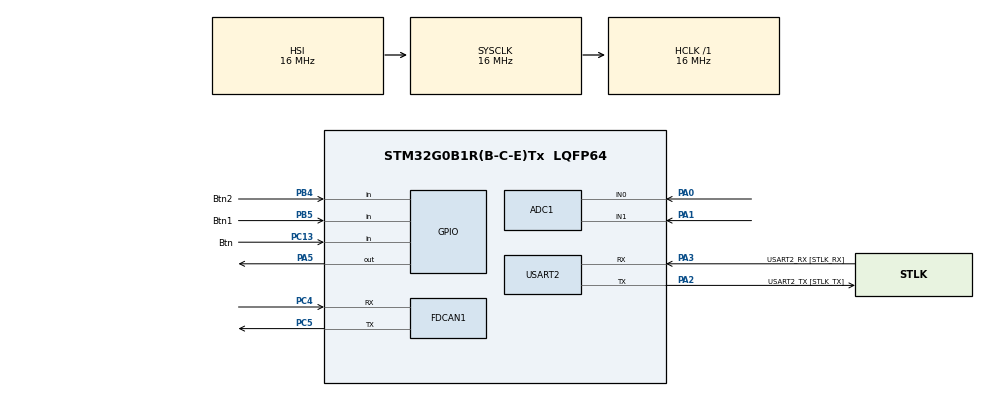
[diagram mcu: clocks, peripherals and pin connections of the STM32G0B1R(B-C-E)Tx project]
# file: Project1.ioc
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ADC1.Channel-0\#ChannelRegularConversion=ADC_CHANNEL_0
ADC1.Channel-1\#ChannelRegularConversion=ADC_CHANNEL_1
ADC1.NbrOfConversion=2
ADC1.NbrOfConversionFlag=1
ADC1.OversamplingMode=ENABLE
ADC1.Rank-0\#ChannelRegularConversion=1
ADC1.Rank-1\#ChannelRegularConversion=2
ADC1.Ratio=ADC_OVERSAMPLING_RATIO_64
ADC1.RightBitShift=ADC_RIGHTBITSHIFT_6
ADC1.SamplingTime-0\#ChannelRegularConversion=ADC_SAMPLINGTIME_COMMON_1
ADC1.SamplingTime-1\#ChannelRegularConversion=ADC_SAMPLINGTIME_COMMON_1
ADC1.SelectedChannel=ADC_CHANNEL_0|ADC_CHANNEL_1
ADC1.master=1
Dma.ADC1.0.Direction=DMA_PERIPH_TO_MEMORY
Dma.ADC1.0.EventEnable=DISABLE
Dma.ADC1.0.Instance=DMA1_Channel1
Dma.ADC1.0.MemDataAlignment=DMA_MDATAALIGN_HALFWORD
Dma.ADC1.0.MemInc=DMA_MINC_ENABLE
Dma.ADC1.0.Mode=DMA_NORMAL
Dma.ADC1.0.PeriphDataAlignment=DMA_PDATAALIGN_HALFWORD
Dma.ADC1.0.PeriphInc=DMA_PINC_DISABLE
Dma.ADC1.0.Polarity=HAL_DMAMUX_REQ_GEN_RISING
Dma.ADC1.0.Priority=DMA_PRIORITY_LOW
Dma.ADC1.0.RequestNumber=1
Dma.ADC1.0.SignalID=NONE
Dma.ADC1.0.SyncEnable=DISABLE
Dma.ADC1.0.SyncPolarity=HAL_DMAMUX_SYNC_NO_EVENT
Dma.ADC1.0.SyncRequestNumber=1
Dma.ADC1.0.SyncSignalID=NONE
Dma.Request0=ADC1
FDCAN1.CalculateBaudRateNominal=200000
FDCAN1.CalculateTimeBitNominal=5000
FDCAN1.CalculateTimeQuantumNominal=1000.0
FDCAN1.Mode=FDCAN_MODE_INTERNAL_LOOPBACK
Mcu.Family=STM32G0
Mcu.Name=STM32G0B1R(B-C-E)Tx
Mcu.Package=LQFP64
NVIC.DMA1_Channel1_IRQn=true\:0\:0\:false\:false\:true\:false\:true\:true
PA0.Mode=IN0
PA0.Signal=ADC1_IN0
PA1.Mode=IN1
PA1.Signal=ADC1_IN1
PA13.GPIO_Label=TMS
PA13.Mode=Serial_Wire
PA13.Signal=SYS_SWDIO
PA14-BOOT0.GPIO_Label=TCK
PA14-BOOT0.Mode=Serial_Wire
PA14-BOOT0.Signal=SYS_SWCLK
PA2.GPIO_Label=USART2_TX [STLK_TX]
PA2.Mode=Asynchronous
PA2.Signal=USART2_TX
PA3.GPIO_Label=USART2_RX [STLK_RX]
PA3.Mode=Asynchronous
PA3.Signal=USART2_RX
PA5.Signal=GPIO_Output
PB4.GPIO_Label=Btn2
PB4.Signal=GPIO_Input
PB5.GPIO_Label=Btn1
PB5.Signal=GPIO_Input
PC13.GPIO_Label=Btn
PC13.Signal=GPIO_Input
PC14-OSC32_IN\ (PC14).Mode=LSE-External-Oscillator
PC14-OSC32_IN\ (PC14).Signal=RCC_OSC32_IN
PC15-OSC32_OUT\ (PC15).Mode=LSE-External-Oscillator
PC15-OSC32_OUT\ (PC15).Signal=RCC_OSC32_OUT
PC4.Mode=FDCAN_Activate
PC4.Signal=FDCAN1_RX
PC5.Mode=FDCAN_Activate
PC5.Signal=FDCAN1_TX
PF0-OSC_IN\ (PF0).GPIO_Label=MCO
PF0-OSC_IN\ (PF0).Mode=HSE-External-Clock-Source
PF0-OSC_IN\ (PF0).Signal=RCC_OSC_IN
ProjectManager.HeapSize=0x200
ProjectManager.StackSize=0x400
ProjectManager.TargetToolchain=STM32CubeIDE
RCC.AHBFreq_Value=16000000
RCC.CortexFreq_Value=16000000
RCC.EXTERNAL_CLOCK_VALUE=12288000
RCC.HCLKFreq_Value=16000000
RCC.HSE_VALUE=8000000
RCC.HSI48_VALUE=48000000
RCC.HSI_VALUE=16000000
RCC.SYSCLKFreq_VALUE=16000000
RCC.USBFreq_Value=48000000
RCC.VCOOutputFreq_Value=128000000
USART2.VirtualMode-Asynchronous=VM_ASYNC
VP_SYS_VS_DBSignals.Mode=DisableDeadBatterySignals
board=NUCLEO-G0B1RE

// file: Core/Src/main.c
/* USER CODE BEGIN Header */
/**
  ******************************************************************************
  * @file           : main.c
  * @brief          : Main program body
  ******************************************************************************
  * @attention
  *
  * Copyright (c) 2024 STMicroelectronics.
  * All rights reserved.
  *
  * This software is licensed under terms that can be found in the LICENSE file
  * in the root directory of this software component.
  * If no LICENSE file comes with this software, it is provided AS-IS.
  *
  ******************************************************************************
  */

/* Uses two potentiometers to read the travel of an acceleration pedal.
 * These values are taken from the ADC via the DMA(oversampled(64) and then averaged)
 * Calculates the percentage travel of the values after applying a deadzone upper and lower threshold
 * The system then checks for two types of implausibilities
 	 * Brake pedal is pressed while acceleration is pressed past a certain threshold
 	 * The two potentiometers differ larger than the allowed threshold
 * After everything is calculated a CAN message is made and sent (sending implausibility and avg pedal acceleration)
 * The system always starts in calibration mode to make sure it gets the full range of potentiometer values before it drives
 * The reset button it pressed to turn calibration mode off manually.
 * Alternatively the bool can be turned off and the values preset to something close to the know values and let them update
 * */

/* USER CODE END Header */
#include "main.h"

/* USER CODE BEGIN Includes */
#include <stdio.h>
#include <string.h>

/* USER CODE END Includes */

/* USER CODE BEGIN PD */
#define pedalImplausibilityThresh 10
#define pedalDeadzoneThresh 8
#define minMaxOccurancesThresh 2
/* USER CODE END PD */

ADC_HandleTypeDef hadc1;
DMA_HandleTypeDef hdma_adc1;

FDCAN_HandleTypeDef hfdcan1;

UART_HandleTypeDef huart2;

/* USER CODE BEGIN PV */

/* INPUT VARIABLES START */
volatile uint16_t adcDMA[2]; //Memory for DMA results
const int adcmsgCnt = 2; //Number of DMA conversions
volatile int adcConvComp = 0; //Wait until completion boolean
uint8_t btn0 = 0; //Blue button(1 Default)
uint8_t brakeBtn = 0; //button(0 Default) (pin 4)
uint8_t resetBtn = 0; //button(0 Default) (pin 5)
/* INPUT VARIABLES END */

/* RUNNING STATE VARIABLES START*/
uint8_t calibrationModeBool = 1; //To get the full range of potentiometer values before driving
uint8_t testingModeBool = 0; //For testing makes sure CAN always sends 0
uint8_t pedalImplausibilityBool = 0; //Bool for acceleration pedal implausibility
uint8_t brakeImplausibilityBool = 0; //Bool for brake pedal implausibility
uint8_t implausibility = 0; //True if any of the above are true (used for CAN)
/* RUNNING STATE VARIABLES END*/

/* ANALOG VALUES START */
//Represent the true min/max analog values for the 5V and 3V
uint16_t accel5VMax = 2000;
uint16_t accel5VMin = 600;
uint16_t accel3VMax = 2000;
uint16_t accel3VMin = 600;

//Represent the min/max values after threshold has been applied for the 5V and 3V
uint16_t accel5VMaxThresh = 2000;
uint16_t accel5VMinThresh = 600;
uint16_t accel3VMaxThresh = 2000;
uint16_t accel3VMinThresh = 600;

//Variables to keep count of new max/min to meet minimum threshold to change values
uint8_t new5VMaxCnt = 0;
uint8_t new5VMinCnt = 0;
uint8_t new3VMaxCnt = 0;
uint8_t new3VMinCnt = 0;

//Variables to keep the percentages (0-100%)
uint8_t accel5VPercentage = 0;
uint8_t accel3VPercentage = 0;
uint8_t accelImplausabilityPercentage = 0;
uint8_t accelAvgPercentage = 0;
uint8_t accelCANPercentage = 0;
/* ANALOG VALUES END */

/* MILLIS TIMER VARIABLES START */
uint32_t accelerationImplausibilityTimer = 0;
uint32_t brakeImplausibilityTimer = 0;
/* MILLIS TIMER VARIABLES START */

/* CAN START */
uint8_t CANErrorMsgCnt = 0;
uint8_t CANReceivedMsgCnt = 0;
uint16_t CANId = 0x115;
/* CAN END */

/* UART START */ //Used for debugging using UART
uint8_t msgCnt = 0;
char msgBuff[80];
uint8_t buffSz = 80;
uint8_t msgSz = 0;

/* UART END */

/* USER CODE END PV */

void SystemClock_Config(void);
static void MX_GPIO_Init(void);
static void MX_DMA_Init(void);
static void MX_USART2_UART_Init(void);
static void MX_ADC1_Init(void);
static void MX_FDCAN1_Init(void);

/* USER CODE BEGIN 0 */

/* Reads the inputs from the ADC through the DMA
 * The ADC is oversampling at 64 samples and shifted right 6 times
 * Readings:
 	 	 	* Potentiometer 1 (5V)
 	 	 	* Potentiometer 2 (3V)
 	 	 	* Button 0 -> Blue board pin has no current use
 	 	 	* Button 1(pin 5) -> Reset pin for all of the implausibilities
 	 	 	* Button 2(pin 6) -> Repesents the brake pedal reading as a boolean value */
void readInputs(){
	//Get DMA readings for both potentiometers
	HAL_ADC_Start_DMA(&hadc1, (uint32_t*)adcDMA, adcmsgCnt);
	while (!adcConvComp){ /*Wait will next conversion is done*/ }
	adcConvComp = 0; //Reset event variable

	//Get button readings
	btn0 = HAL_GPIO_ReadPin(Btn_GPIO_Port, Btn_Pin);

	resetBtn = HAL_GPIO_ReadPin(GPIOB, GPIO_PIN_5);
	if(resetBtn){
		calibrationModeBool = 0;
		pedalImplausibilityBool = 0;
		brakeImplausibilityBool = 0;
	}

	brakeBtn = HAL_GPIO_ReadPin(GPIOB, GPIO_PIN_4);
}

/* Prints all values for debugging */
void printValues(){
	//Potentiometer & button readings
	msgSz = snprintf(msgBuff, buffSz, "%d 5VPot: %d, 3VPot: %d\r\n", msgCnt, adcDMA[0], adcDMA[1]);
	HAL_UART_Transmit(&huart2, (uint8_t*)msgBuff, msgSz, HAL_MAX_DELAY);
	msgSz = snprintf(msgBuff, buffSz, "%d BrakeBtn: %d, ResetBtn: %d\r\n", msgCnt, brakeBtn, resetBtn);
	HAL_UART_Transmit(&huart2, (uint8_t*)msgBuff, msgSz, HAL_MAX_DELAY);

	//Accelerator petal Min/Max
	msgSz = snprintf(msgBuff, buffSz, "%d 5VMax: %d, 5VMin: %d\r\n", msgCnt, accel5VMax, accel5VMin);
	HAL_UART_Transmit(&huart2, (uint8_t*)msgBuff, msgSz, HAL_MAX_DELAY);
	msgSz = snprintf(msgBuff, buffSz, "%d 3VMax: %d, 3VMin: %d\r\n", msgCnt, accel3VMax, accel3VMin);
	HAL_UART_Transmit(&huart2, (uint8_t*)msgBuff, msgSz, HAL_MAX_DELAY);

	//Accelerator petal Min/Max Calibrated
	msgSz = snprintf(msgBuff, buffSz, "%d Thresh 5VMax: ", msgCnt);
	HAL_UART_Transmit(&huart2, (uint8_t*)msgBuff, msgSz, HAL_MAX_DELAY);
	msgSz = snprintf(msgBuff, buffSz, "%d, 5VMin: %d\r\n", accel5VMaxThresh, accel5VMinThresh);
	HAL_UART_Transmit(&huart2, (uint8_t*)msgBuff, msgSz, HAL_MAX_DELAY);

	msgSz = snprintf(msgBuff, buffSz, "%d Thresh 3VMax: ", msgCnt);
	HAL_UART_Transmit(&huart2, (uint8_t*)msgBuff, msgSz, HAL_MAX_DELAY);
	msgSz = snprintf(msgBuff, buffSz, "%d, 3VMin: %d\r\n", accel3VMaxThresh, accel3VMinThresh);
	HAL_UART_Transmit(&huart2, (uint8_t*)msgBuff, msgSz, HAL_MAX_DELAY);

	//Accelerator percentages
	msgSz = snprintf(msgBuff, buffSz, "%d Percentage: ", msgCnt);
	HAL_UART_Transmit(&huart2, (uint8_t*)msgBuff, msgSz, HAL_MAX_DELAY);
	msgSz = snprintf(msgBuff, buffSz, "5VP: %d, 3VP: %d, AvgP: %d\r\n", accel5VPercentage, accel3VPercentage, accelAvgPercentage);
	HAL_UART_Transmit(&huart2, (uint8_t*)msgBuff, msgSz, HAL_MAX_DELAY);

	//Implausibilities
	msgSz = snprintf(msgBuff, buffSz, "%d PedIm: %d, BrakeIm: %d\r\n", msgCnt, pedalImplausibilityBool, brakeImplausibilityBool);
	HAL_UART_Transmit(&huart2, (uint8_t*)msgBuff, msgSz, HAL_MAX_DELAY);

	msgSz = snprintf(msgBuff, buffSz, "%d Calibration: %d, ", msgCnt, calibrationModeBool);
	HAL_UART_Transmit(&huart2, (uint8_t*)msgBuff, msgSz, HAL_MAX_DELAY);
	msgSz = snprintf(msgBuff, buffSz, "Testing: %d\n\n \r\n", testingModeBool);
	HAL_UART_Transmit(&huart2, (uint8_t*)msgBuff, msgSz, HAL_MAX_DELAY);

	msgCnt++;
}

/* Update the upper and lower bounds for the potentiometer reading
 * Doesn't update directly as new min/max must appear the minimum threshold number of times
 * Checks for a new min or max for both 5V and 3V*/
void updateBounds(){
	//New 5V max
	if(adcDMA[0] > accel5VMax){
		//Meets threshold -> make max
		if(new5VMaxCnt >= minMaxOccurancesThresh){
			accel5VMax = adcDMA[0];
			new5VMaxCnt = 0;
		}
		//Doesn't meet threshold -> update count
		else{
			new5VMaxCnt++;
		}
		new5VMinCnt = 0;
	}
	//New 5V min
	else if(adcDMA[0] < accel5VMin){
		//Meets threshold -> make min
		if(new5VMinCnt >= minMaxOccurancesThresh){
			accel5VMin = adcDMA[0];
			new5VMinCnt = 0;
		}
		//Doesn't meet threshold -> update count
		else{
			new5VMinCnt++;
		}
		new5VMaxCnt = 0;
	}
	//Neither new min or max -> reset counters
	else{
		new5VMinCnt = 0;
		new5VMaxCnt = 0;
	}

	//New 3V max
	if(adcDMA[1] > accel3VMax){
		//Meets threshold -> make max
		if(new3VMaxCnt >= minMaxOccurancesThresh){
			accel3VMax = adcDMA[1];
			new3VMaxCnt = 0;
		}
		//Doesn't meet threshold -> update count
		else{
			new3VMaxCnt++;
		}
		new3VMinCnt = 0;
	}
	//New 3V min
	else if(adcDMA[1] < accel3VMin){
		//Meets threshold -> make min
		if(new3VMinCnt >= minMaxOccurancesThresh){
			accel3VMin = adcDMA[1];
			new3VMinCnt = 0;
		}
		//Doesn't meet threshold -> update count
		else{
			new3VMinCnt++;
		}
		new3VMaxCnt = 0;
	}
	//Neither new min or max -> reset counters
	else{
		new3VMinCnt = 0;
		new3VMaxCnt = 0;
	}
}

/* Uses the current max/min to calculate what should be the min/max used
 * Created a upper and lower deadzone respective to the given deadzone threshold
 	 * Anything above the max thresh is automatically 100
 	 * Anything below the min thresh is automatically 0
 * Used to reduce any mechanical and environmental noise */
void calculateMaxMinThresholds(){
	//Calculates what is considered 1% and decrements or increments that to the max/min based on threshold
	uint16_t accelDifference = accel5VMax - accel5VMin;
	accel5VMaxThresh = accel5VMax - ((accelDifference * .01) * pedalDeadzoneThresh);
	accel5VMinThresh = accel5VMin + ((accelDifference * .01) * pedalDeadzoneThresh);

	accelDifference = accel3VMax - accel3VMin;
	accel3VMaxThresh = accel3VMax - ((accelDifference * .01) * pedalDeadzoneThresh);
	accel3VMinThresh = accel3VMin + ((accelDifference * .01) * pedalDeadzoneThresh);
}

/* Verifies the percentage falls between 0-100
 * Anything below <0 -> 0 and above >100 -> 100 */
uint16_t checkPercentage(uint16_t percentage){
	if(percentage < 0){
		percentage = 0;
	}
	else if (percentage > 100){
		percentage = 100;
	}
	return percentage;
}

/*Converts the float percentage into an int(negative -> 0):
 * Used to cover the edge case where the calculated percentage is negative and
 * the conversion turns what should be 0 into a large integer value */
uint8_t convertToInt(float percentage){
	if (percentage < 0){
		return 0;
	}
	return (uint8_t)percentage;
}

/* Converts the current reading into a percentage out of 100 with the threshold min/max as boundaries */
void convertToPercentages(){

	//Calculate the percentage represented using threshold min & max
	float temp5V = (((float)(adcDMA[0] - accel5VMinThresh) / (float)(accel5VMaxThresh - accel5VMinThresh))*100);
	float temp3V = (((float)(adcDMA[1] - accel3VMinThresh) / (float)(accel3VMaxThresh - accel3VMinThresh))*100);

	//Save the new calculated percentages as integers
	accel5VPercentage = convertToInt(temp5V);
	accel3VPercentage = convertToInt(temp3V);

	//If falls in lower or upper threshold adjust to 0 or 100 respectively
	accel5VPercentage = checkPercentage(accel5VPercentage);
	accel3VPercentage = checkPercentage(accel3VPercentage);

	//Get the average of the two potentiometers
	accelAvgPercentage = (accel5VPercentage + accel3VPercentage)>>1;
}

/*Finds the absolute value of the given float number*/
uint8_t absValue(float value){
	if(value < 0){
		value *= -1;
	}
	return (uint8_t)value;
}

/* Checks for acceleration pedal implausibility
 * This is when the 5V and 3V readings have a difference larger than the allowed threshold
 * Automatically resets if the readings fall back within threshold and 500 milliseconds have passed */
void accelerationImplausability(){
	//Calculate the difference in 5V and 3V percentages
	accelImplausabilityPercentage = absValue(accel5VPercentage - accel3VPercentage);

	//If past the threshold then implausibility is true
	if(accelImplausabilityPercentage > pedalImplausibilityThresh){
		pedalImplausibilityBool = 1;
		accelerationImplausibilityTimer = HAL_GetTick();
	}
	//If belows threshold and 500 milliseconds have passed reset implausibility
	else if (pedalImplausibilityBool && (HAL_GetTick() - accelerationImplausibilityTimer > 500)){
		pedalImplausibilityBool = 0;
	}
}

/* Checks for brake pedal implausibility
 * This is when the the brake pedal is on while the acceleration pedal is pressed past 5 percent
 * Automatically resets if (the readings fall back within threshold OR brake is off) and 500 milliseconds have passed*/
void brakeImplausibility(){
	//Brakes applied with acceleration past threshold(5%)
	if(brakeBtn && accelAvgPercentage >= 5){
		brakeImplausibilityBool = 1;
		brakeImplausibilityTimer = HAL_GetTick();
	}
	//Back within threshold(%5)
	else if (brakeImplausibilityBool && (HAL_GetTick() - brakeImplausibilityTimer > 500) && (accelAvgPercentage < 5)){
		brakeImplausibilityBool = 0;
	}
	//Brakes no longer applied
	else if(brakeImplausibilityBool && !brakeBtn && (HAL_GetTick() - brakeImplausibilityTimer > 500)){
		brakeImplausibilityBool = 0;
	}
}

/* Sends a can message with information about implausibility and the avg percentage
 * TxData[0] = var1; -> implausibility bool
 * TxData[1] = var2; -> acceleration pedal percentage
 * Can be in one of two modes:
   	 * Testing: Use FDCAN_MODE_INTERNAL_LOOPBACK
 	 * Running: Change back to normal mode*/
void SendFDCANData(uint8_t var1, uint8_t var2) {
	//Build the data array
    //2 bytes: 2 x (uint8_t)
    uint8_t TxData[2];
    TxData[0] = var1;
    TxData[1] = var2;

    //Configure FDCAN Tx Header
    FDCAN_TxHeaderTypeDef TxHeader;
    TxHeader.Identifier = CANId;
    TxHeader.IdType = FDCAN_STANDARD_ID;
    TxHeader.TxFrameType = FDCAN_DATA_FRAME;
    TxHeader.DataLength = FDCAN_DLC_BYTES_2;
    TxHeader.ErrorStateIndicator = FDCAN_ESI_ACTIVE;
    TxHeader.BitRateSwitch = FDCAN_BRS_OFF;
    TxHeader.FDFormat = FDCAN_CLASSIC_CAN;
    TxHeader.TxEventFifoControl = FDCAN_NO_TX_EVENTS;
    TxHeader.MessageMarker = 0;

    //Check that the tx is free to send the message
    uint32_t txFreeLevel;
    txFreeLevel = HAL_FDCAN_GetTxFifoFreeLevel(&hfdcan1);
    if (txFreeLevel > 0) {

    	//Transmit CAN message and check if error occurred
        if (HAL_FDCAN_AddMessageToTxFifoQ(&hfdcan1, &TxHeader, TxData) != HAL_OK) {
            msgSz = snprintf(msgBuff, buffSz, "Failed to send CAN MSG: %d \r\n", CANErrorMsgCnt);
            HAL_UART_Transmit(&huart2, (uint8_t*)msgBuff, msgSz, HAL_MAX_DELAY);
            CANErrorMsgCnt++;
        }
        //Message send successfully
        else {
            CANErrorMsgCnt = 0;
            msgSz = snprintf(msgBuff, buffSz, "Sent CAN MSG\r\n");
            HAL_UART_Transmit(&huart2, (uint8_t*)msgBuff, msgSz, HAL_MAX_DELAY);
        }
    }
    //Tx is not free, FIFO is full -> send error message
    else {
        msgSz = snprintf(msgBuff, buffSz, "Tx FIFO full, cannot send message\r\n");
        HAL_UART_Transmit(&huart2, (uint8_t*)msgBuff, msgSz, HAL_MAX_DELAY);
    }
}

/*Used for debugging with CAN on internal loop back mode to read our own CAN messages*/
void Receive_FDCAN_Message(void) {
    FDCAN_RxHeaderTypeDef RxHeader;
    uint8_t RxData[2];

    //Get the current tick time to track how long we wait for CAN message to be available
    uint32_t timeWaiting = HAL_GetTick();

    //Wait for a new CAN message or until 3 seconds pass
    while ((HAL_FDCAN_GetRxFifoFillLevel(&hfdcan1, FDCAN_RX_FIFO0) == 0) && (HAL_GetTick()-timeWaiting < 3000));

    //Get the message and parse it
    if (HAL_FDCAN_GetRxMessage(&hfdcan1, FDCAN_RX_FIFO0, &RxHeader, RxData) == HAL_OK) {
        uint8_t receivedImplausibility = RxData[0];
        uint8_t receivedPercentage = RxData[1];

        msgSz = snprintf(msgBuff, buffSz, "Received CAN: Implausibility");
		HAL_UART_Transmit(&huart2, (uint8_t*)msgBuff, msgSz, HAL_MAX_DELAY);
		msgSz = snprintf(msgBuff, buffSz, ": %d, Percentage: %d\n\n\r\n", receivedImplausibility, receivedPercentage);
		HAL_UART_Transmit(&huart2, (uint8_t*)msgBuff, msgSz, HAL_MAX_DELAY);
    }
    //Failed to receive message and send error message
    else {
    	msgSz = snprintf(msgBuff, buffSz, "Failed to read CAN MSG\r\n");
		HAL_UART_Transmit(&huart2, (uint8_t*)msgBuff, msgSz, HAL_MAX_DELAY);
    }
}

/*Checks for CAN errors
 * Resets the FDCAN peripheral if an error exists
 * Checks if the CAN Bus is active*/
void checkCANErrors(){
	uint32_t errorStatus = HAL_FDCAN_GetError(&hfdcan1);

	//Check for the FDCAN peripheral error
	if (errorStatus != 0) {
	    msgSz = snprintf(msgBuff, buffSz, "FDCAN Error: 0x%08lX  %d\r\n", errorStatus, msgCnt);
	    HAL_UART_Transmit(&huart2, (uint8_t*)msgBuff, msgSz, HAL_MAX_DELAY);

	    //Deinitialize and Reinitialize the FDCAN peripheral
	    HAL_FDCAN_DeInit(&hfdcan1);
	    HAL_FDCAN_Init(&hfdcan1);
	}

	//Check if the CAN BUS is in the off state
	if (__HAL_FDCAN_GET_FLAG(&hfdcan1, FDCAN_FLAG_BUS_OFF)) {
	    msgSz = snprintf(msgBuff, buffSz, "FDCAN Bus Off state!\r\n");
	    HAL_UART_Transmit(&huart2, (uint8_t*)msgBuff, msgSz, HAL_MAX_DELAY);
	}
}

/* USER CODE END 0 */

int main(void)
{

  /* MCU Configuration--------------------------------------------------------*/

  /* Reset of all peripherals, Initializes the Flash interface and the Systick. */
  HAL_Init();

  /* Configure the system clock */
  SystemClock_Config();

  /* Initialize all configured peripherals */
  MX_GPIO_Init();
  MX_DMA_Init();
  MX_USART2_UART_Init();
  MX_ADC1_Init();
  MX_FDCAN1_Init();
  /* USER CODE BEGIN 2 */

  //Start the FDCAN to be able to start communication
  HAL_FDCAN_Start(&hfdcan1);

  /* USER CODE END 2 */

  /* Infinite loop */
  /* USER CODE BEGIN WHILE */
  while (1)
  {
	  readInputs();
	  updateBounds();
	  calculateMaxMinThresholds();
	  convertToPercentages();
	  accelerationImplausability();
	  brakeImplausibility();

	  //If implausibility is true or testing/calibration mode is on then sent CAN 0
	  if(!calibrationModeBool && !pedalImplausibilityBool && !brakeImplausibilityBool && !testingModeBool){
		  implausibility = 0;
		  accelCANPercentage = accelAvgPercentage;
	  }
	  else{
		  accelCANPercentage = 0;
		  implausibility = 1;
	  }

	  printValues(); //For testing/debugging

	  //Must be in FDCAN_MODE_INTERNAL_LOOPBACK for testing & normal mode for actual use
	  SendFDCANData(implausibility, accelCANPercentage);
	  checkCANErrors();
	  Receive_FDCAN_Message(); //For testing/debugging

	  HAL_Delay(100); //For testing/debugging

    /* USER CODE END WHILE */

  }
}

void SystemClock_Config(void)
{
  RCC_OscInitTypeDef RCC_OscInitStruct = {0};
  RCC_ClkInitTypeDef RCC_ClkInitStruct = {0};

  /** Configure the main internal regulator output voltage
  */
  HAL_PWREx_ControlVoltageScaling(PWR_REGULATOR_VOLTAGE_SCALE1);

  /** Initializes the RCC Oscillators according to the specified parameters
  * in the RCC_OscInitTypeDef structure.
  */
  RCC_OscInitStruct.OscillatorType = RCC_OSCILLATORTYPE_HSI;
  RCC_OscInitStruct.HSIState = RCC_HSI_ON;
  RCC_OscInitStruct.HSIDiv = RCC_HSI_DIV1;
  RCC_OscInitStruct.HSICalibrationValue = RCC_HSICALIBRATION_DEFAULT;
  RCC_OscInitStruct.PLL.PLLState = RCC_PLL_NONE;
  if (HAL_RCC_OscConfig(&RCC_OscInitStruct) != HAL_OK)
  {
    Error_Handler();
  }

  /** Initializes the CPU, AHB and APB buses clocks
  */
  RCC_ClkInitStruct.ClockType = RCC_CLOCKTYPE_HCLK|RCC_CLOCKTYPE_SYSCLK
                              |RCC_CLOCKTYPE_PCLK1;
  RCC_ClkInitStruct.SYSCLKSource = RCC_SYSCLKSOURCE_HSI;
  RCC_ClkInitStruct.AHBCLKDivider = RCC_SYSCLK_DIV1;
  RCC_ClkInitStruct.APB1CLKDivider = RCC_HCLK_DIV1;

  if (HAL_RCC_ClockConfig(&RCC_ClkInitStruct, FLASH_LATENCY_0) != HAL_OK)
  {
    Error_Handler();
  }
}

static void MX_ADC1_Init(void)
{

  ADC_ChannelConfTypeDef sConfig = {0};

  /** Configure the global features of the ADC (Clock, Resolution, Data Alignment and number of conversion)
  */
  hadc1.Instance = ADC1;
  hadc1.Init.ClockPrescaler = ADC_CLOCK_SYNC_PCLK_DIV2;
  hadc1.Init.Resolution = ADC_RESOLUTION_12B;
  hadc1.Init.DataAlign = ADC_DATAALIGN_RIGHT;
  hadc1.Init.ScanConvMode = ADC_SCAN_ENABLE;
  hadc1.Init.EOCSelection = ADC_EOC_SINGLE_CONV;
  hadc1.Init.LowPowerAutoWait = DISABLE;
  hadc1.Init.LowPowerAutoPowerOff = DISABLE;
  hadc1.Init.ContinuousConvMode = DISABLE;
  hadc1.Init.NbrOfConversion = 2;
  hadc1.Init.DiscontinuousConvMode = DISABLE;
  hadc1.Init.ExternalTrigConv = ADC_SOFTWARE_START;
  hadc1.Init.ExternalTrigConvEdge = ADC_EXTERNALTRIGCONVEDGE_NONE;
  hadc1.Init.DMAContinuousRequests = DISABLE;
  hadc1.Init.Overrun = ADC_OVR_DATA_PRESERVED;
  hadc1.Init.SamplingTimeCommon1 = ADC_SAMPLETIME_1CYCLE_5;
  hadc1.Init.SamplingTimeCommon2 = ADC_SAMPLETIME_1CYCLE_5;
  hadc1.Init.OversamplingMode = ENABLE;
  hadc1.Init.Oversampling.Ratio = ADC_OVERSAMPLING_RATIO_64;
  hadc1.Init.Oversampling.RightBitShift = ADC_RIGHTBITSHIFT_6;
  hadc1.Init.Oversampling.TriggeredMode = ADC_TRIGGEREDMODE_SINGLE_TRIGGER;
  hadc1.Init.TriggerFrequencyMode = ADC_TRIGGER_FREQ_HIGH;
  if (HAL_ADC_Init(&hadc1) != HAL_OK)
  {
    Error_Handler();
  }

  /** Configure Regular Channel
  */
  sConfig.Channel = ADC_CHANNEL_0;
  sConfig.Rank = ADC_REGULAR_RANK_1;
  sConfig.SamplingTime = ADC_SAMPLINGTIME_COMMON_1;
  if (HAL_ADC_ConfigChannel(&hadc1, &sConfig) != HAL_OK)
  {
    Error_Handler();
  }

  /** Configure Regular Channel
  */
  sConfig.Channel = ADC_CHANNEL_1;
  sConfig.Rank = ADC_REGULAR_RANK_2;
  if (HAL_ADC_ConfigChannel(&hadc1, &sConfig) != HAL_OK)
  {
    Error_Handler();
  }

}

static void MX_FDCAN1_Init(void)
{

  hfdcan1.Instance = FDCAN1;
  hfdcan1.Init.ClockDivider = FDCAN_CLOCK_DIV1;
  hfdcan1.Init.FrameFormat = FDCAN_FRAME_CLASSIC;
  hfdcan1.Init.Mode = FDCAN_MODE_INTERNAL_LOOPBACK;
  hfdcan1.Init.AutoRetransmission = DISABLE;
  hfdcan1.Init.TransmitPause = DISABLE;
  hfdcan1.Init.ProtocolException = DISABLE;
  hfdcan1.Init.NominalPrescaler = 16;
  hfdcan1.Init.NominalSyncJumpWidth = 1;
  hfdcan1.Init.NominalTimeSeg1 = 2;
  hfdcan1.Init.NominalTimeSeg2 = 2;
  hfdcan1.Init.DataPrescaler = 1;
  hfdcan1.Init.DataSyncJumpWidth = 1;
  hfdcan1.Init.DataTimeSeg1 = 1;
  hfdcan1.Init.DataTimeSeg2 = 1;
  hfdcan1.Init.StdFiltersNbr = 0;
  hfdcan1.Init.ExtFiltersNbr = 0;
  hfdcan1.Init.TxFifoQueueMode = FDCAN_TX_FIFO_OPERATION;
  if (HAL_FDCAN_Init(&hfdcan1) != HAL_OK)
  {
    Error_Handler();
  }

}

static void MX_USART2_UART_Init(void)
{

  huart2.Instance = USART2;
  huart2.Init.BaudRate = 115200;
  huart2.Init.WordLength = UART_WORDLENGTH_8B;
  huart2.Init.StopBits = UART_STOPBITS_1;
  huart2.Init.Parity = UART_PARITY_NONE;
  huart2.Init.Mode = UART_MODE_TX_RX;
  huart2.Init.HwFlowCtl = UART_HWCONTROL_NONE;
  huart2.Init.OverSampling = UART_OVERSAMPLING_16;
  huart2.Init.OneBitSampling = UART_ONE_BIT_SAMPLE_DISABLE;
  huart2.Init.ClockPrescaler = UART_PRESCALER_DIV1;
  huart2.AdvancedInit.AdvFeatureInit = UART_ADVFEATURE_NO_INIT;
  if (HAL_UART_Init(&huart2) != HAL_OK)
  {
    Error_Handler();
  }
  if (HAL_UARTEx_SetTxFifoThreshold(&huart2, UART_TXFIFO_THRESHOLD_1_8) != HAL_OK)
  {
    Error_Handler();
  }
  if (HAL_UARTEx_SetRxFifoThreshold(&huart2, UART_RXFIFO_THRESHOLD_1_8) != HAL_OK)
  {
    Error_Handler();
  }
  if (HAL_UARTEx_DisableFifoMode(&huart2) != HAL_OK)
  {
    Error_Handler();
  }

}

static void MX_DMA_Init(void)
{

  /* DMA controller clock enable */
  __HAL_RCC_DMA1_CLK_ENABLE();

  /* DMA interrupt init */
  /* DMA1_Channel1_IRQn interrupt configuration */
  HAL_NVIC_SetPriority(DMA1_Channel1_IRQn, 0, 0);
  HAL_NVIC_EnableIRQ(DMA1_Channel1_IRQn);

}

static void MX_GPIO_Init(void)
{
  GPIO_InitTypeDef GPIO_InitStruct = {0};

  /* GPIO Ports Clock Enable */
  __HAL_RCC_GPIOC_CLK_ENABLE();
  __HAL_RCC_GPIOF_CLK_ENABLE();
  __HAL_RCC_GPIOA_CLK_ENABLE();
  __HAL_RCC_GPIOB_CLK_ENABLE();

  /*Configure GPIO pin Output Level */
  HAL_GPIO_WritePin(GPIOA, GPIO_PIN_5, GPIO_PIN_RESET);

  /*Configure GPIO pin : Btn_Pin */
  GPIO_InitStruct.Pin = Btn_Pin;
  GPIO_InitStruct.Mode = GPIO_MODE_INPUT;
  GPIO_InitStruct.Pull = GPIO_NOPULL;
  HAL_GPIO_Init(Btn_GPIO_Port, &GPIO_InitStruct);

  /*Configure GPIO pin : PA5 */
  GPIO_InitStruct.Pin = GPIO_PIN_5;
  GPIO_InitStruct.Mode = GPIO_MODE_OUTPUT_PP;
  GPIO_InitStruct.Pull = GPIO_NOPULL;
  GPIO_InitStruct.Speed = GPIO_SPEED_FREQ_LOW;
  HAL_GPIO_Init(GPIOA, &GPIO_InitStruct);

  /*Configure GPIO pins : Btn2_Pin Btn1_Pin */
  GPIO_InitStruct.Pin = Btn2_Pin|Btn1_Pin;
  GPIO_InitStruct.Mode = GPIO_MODE_INPUT;
  GPIO_InitStruct.Pull = GPIO_NOPULL;
  HAL_GPIO_Init(GPIOB, &GPIO_InitStruct);

}

/* USER CODE BEGIN 4 */
void HAL_ADC_ConvCpltCallback(ADC_HandleTypeDef *hadc){

	adcConvComp = 1;

}

/* USER CODE END 4 */

void Error_Handler(void)
{
  __disable_irq();
  while (1)
  {
  }
}
